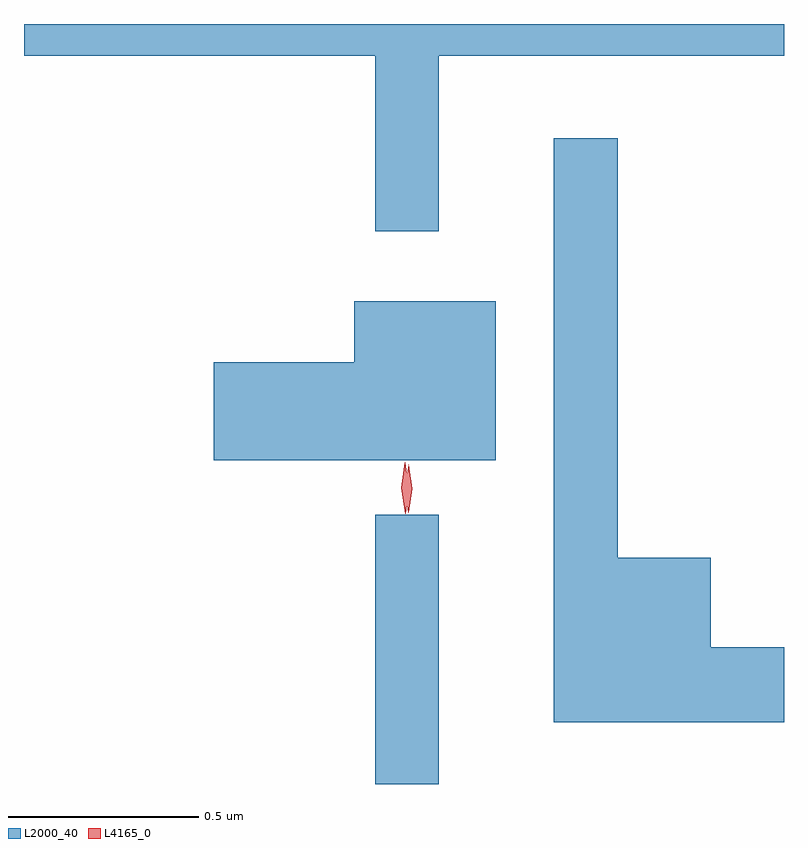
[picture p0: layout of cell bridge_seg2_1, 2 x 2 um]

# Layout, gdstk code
import gdstk
lib = gdstk.Library(unit=1e-6, precision=1e-09)
def R(c, l, rs):  # rectangles x0, y0, x1, y1
    for r in rs: c.add(gdstk.rectangle(r[:2], r[2:], *l))
def P(c, l, *ps):  # polygons
    for p in ps: c.add(gdstk.Polygon(p, *l))
L2000_40 = (2000, 40)
L4165_0 = (4165, 0)

bridge_seg2_1 = lib.new_cell('bridge_seg2_1')
R(bridge_seg2_1, L2000_40, [(1835.951,1079.699,1836.119,1080.408)])
P(bridge_seg2_1, L2000_40, [(1836.119,1081.616),(1837.027,1081.616),(1837.027,1081.699),(1835.027,1081.699),(1835.027,1081.616),(1835.951,1081.616),(1835.951,1081.153),(1836.119,1081.153)],
  [(1837.027,1080.059),(1836.834,1080.059),(1836.834,1080.294),(1836.589,1080.294),(1836.589,1081.398),(1836.421,1081.398),(1836.421,1079.861),(1837.027,1079.861)],
  [(1836.269,1080.969),(1835.896,1080.969),(1835.896,1080.809),(1835.526,1080.809),(1835.526,1080.551),(1836.269,1080.551)])
P(bridge_seg2_1, L4165_0, [(1836.03,1080.41),(1836.03,1080.41),(1836.02,1080.478),(1836.029,1080.545),(1836.03,1080.546),(1836.03,1080.545),(1836.04,1080.478),(1836.031,1080.41)],
  [(1836.038,1080.413),(1836.038,1080.414),(1836.029,1080.476),(1836.039,1080.539),(1836.04,1080.54),(1836.04,1080.539),(1836.049,1080.476),(1836.039,1080.414)])

lib.write_gds('bridge_seg2_1.gds')
